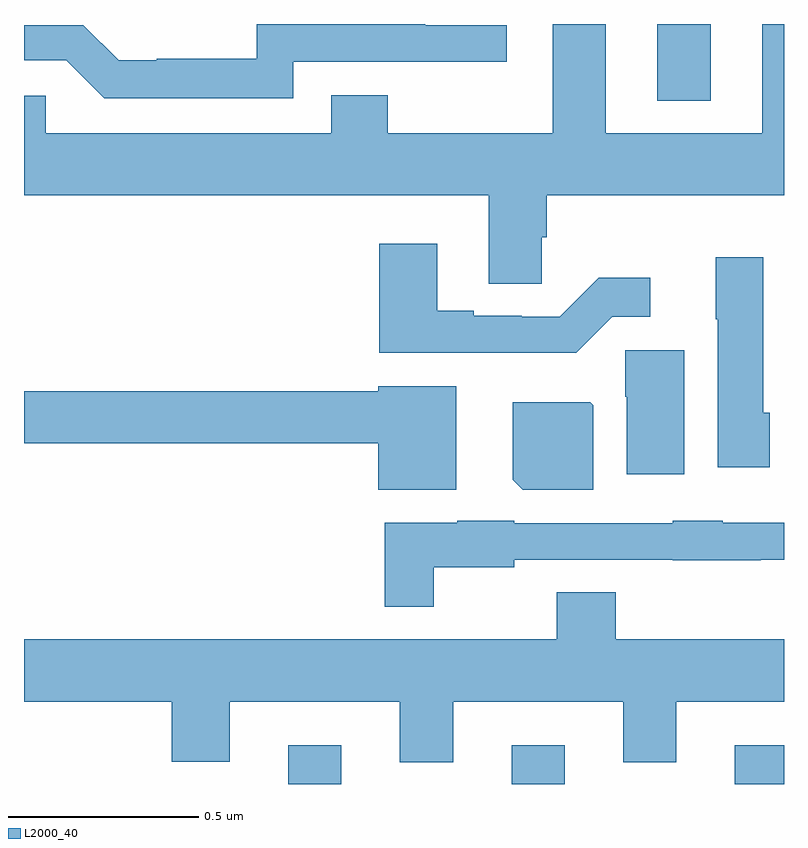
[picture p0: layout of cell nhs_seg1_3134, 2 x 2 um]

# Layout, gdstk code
import gdstk
lib = gdstk.Library(unit=1e-6, precision=1e-09)
def R(c, l, rs):  # rectangles x0, y0, x1, y1
    for r in rs: c.add(gdstk.rectangle(r[:2], r[2:], *l))
def P(c, l, *ps):  # polygons
    for p in ps: c.add(gdstk.Polygon(p, *l))
L2000_40 = (2000, 40)

nhs_seg1_3134 = lib.new_cell('nhs_seg1_3134')
R(nhs_seg1_3134, L2000_40, [(150.695,534.199,150.835,534.301), (151.283,534.199,151.423,534.301), (151.871,534.199,152,534.301), (151.667,535.997,151.807,536.199)])
P(nhs_seg1_3134, L2000_40, [(151.362,535.638),(151.376,535.638),(151.376,535.748),(152,535.748),(152,536.199),(151.943,536.199),(151.943,535.912),(151.531,535.912),(151.531,536.199),(151.391,536.199),(151.391,535.912),(150.957,535.912),(150.957,536.011),(150.809,536.011),(150.809,535.912),(150.057,535.912),(150.057,536.01),(150,536.01),(150,535.748),(151.223,535.748),(151.223,535.516),(151.362,535.516)],
  [(150.708,536.1),(151.27,536.1),(151.27,536.196),(151.056,536.196),(151.056,536.199),(150.612,536.199),(150.612,536.107),(150.349,536.107),(150.349,536.103),(150.249,536.103),(150.156,536.196),(150,536.196),(150,536.103),(150.111,536.103),(150.211,536.003),(150.708,536.003)],
  [(151.548,535.428),(151.648,535.428),(151.648,535.531),(151.513,535.531),(151.41,535.428),(151.31,535.428),(151.31,535.431),(151.183,535.431),(151.183,535.444),(151.087,535.444),(151.087,535.621),(150.935,535.621),(150.935,535.334),(151.453,535.334)],
  [(151.963,535.176),(151.945,535.176),(151.945,535.585),(151.82,535.585),(151.82,535.422),(151.826,535.422),(151.826,535.032),(151.963,535.032)],
  [(151.738,535.341),(151.582,535.341),(151.582,535.218),(151.586,535.218),(151.586,535.014),(151.738,535.014)],
  [(151.138,535.246),(150.932,535.246),(150.932,535.232),(150,535.232),(150,535.096),(150.932,535.096),(150.932,534.974),(151.138,534.974)],
  [(151.498,535.196),(151.49,535.204),(151.286,535.204),(151.286,535),(151.312,534.974),(151.498,534.974)],
  [(151.078,534.77),(151.29,534.77),(151.29,534.789),(151.707,534.789),(151.707,534.788),(151.939,534.788),(151.939,534.789),(152,534.789),(152,534.886),(151.839,534.886),(151.839,534.892),(151.707,534.892),(151.707,534.885),(151.29,534.885),(151.29,534.892),(151.14,534.892),(151.14,534.886),(150.949,534.886),(150.949,534.665),(151.078,534.665)],
  [(151.129,534.416),(151.577,534.416),(151.577,534.256),(151.717,534.256),(151.717,534.416),(152,534.416),(152,534.58),(151.557,534.58),(151.557,534.704),(151.402,534.704),(151.402,534.58),(150,534.58),(150,534.416),(150.389,534.416),(150.389,534.257),(150.541,534.257),(150.541,534.416),(150.989,534.416),(150.989,534.256),(151.129,534.256)])

lib.write_gds('nhs_seg1_3134.gds')
